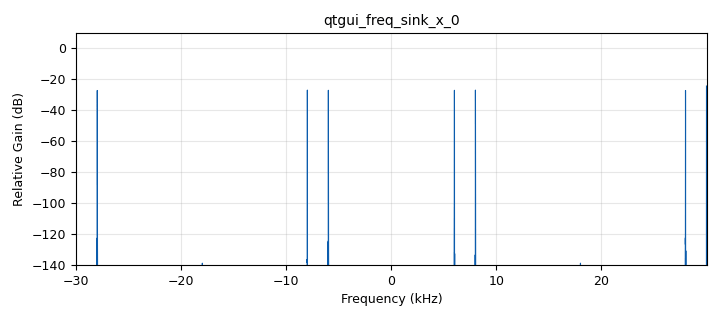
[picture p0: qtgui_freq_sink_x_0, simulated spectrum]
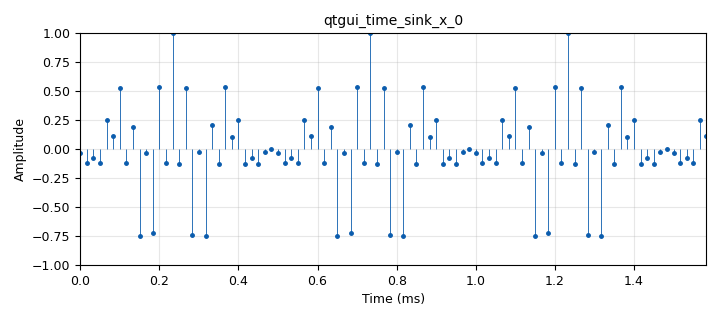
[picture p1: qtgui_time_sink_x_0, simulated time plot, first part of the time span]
options:
  parameters:
    author: Sebastian - Esteban
    generate_options: qt_gui
    id: multiplicacion_senales
    output_language: python
    title: Multiplicacion Señales
  states: {}

blocks:
- name: samp_rate
  id: variable
  parameters:
    value: '32000'
  states: {state: disabled}
- name: samp_rate
  id: variable_qtgui_range
  parameters:
    start: 1e3
    step: 1e3
    stop: 600e3
    value: 60e3
  states: {}
- name: analog_sig_source_x_0
  id: analog_sig_source_x
  parameters:
    amp: '1'
    freq: 11e3
    offset: '0'
    phase: '0'
    samp_rate: samp_rate
    type: float
    waveform: analog.GR_COS_WAVE
  states: {}
- name: analog_sig_source_x_1
  id: analog_sig_source_x
  parameters:
    amp: '1'
    freq: 18e3
    offset: '0'
    phase: '0'
    samp_rate: samp_rate
    type: float
    waveform: analog.GR_COS_WAVE
  states: {}
- name: analog_sig_source_x_2
  id: analog_sig_source_x
  parameters:
    amp: '1'
    freq: '1000'
    offset: '0'
    phase: '0'
    samp_rate: samp_rate
    type: float
    waveform: analog.GR_COS_WAVE
  states: {}
- name: blocks_multiply_xx_0
  id: blocks_multiply_xx
  parameters:
    num_inputs: '3'
    type: float
  states: {}
- name: qtgui_freq_sink_x_0
  id: qtgui_freq_sink_x
  parameters:
    bw: samp_rate
    fc: '0'
    fftsize: '32768'
    type: float
  states: {}
- name: qtgui_time_sink_x_0
  id: qtgui_time_sink_x
  parameters:
    marker1: '0'
    size: '1024'
    srate: samp_rate
    stemplot: 'True'
    type: float
  states: {}

connections:
- [analog_sig_source_x_0, '0', blocks_multiply_xx_0, '0']
- [analog_sig_source_x_1, '0', blocks_multiply_xx_0, '1']
- [analog_sig_source_x_2, '0', blocks_multiply_xx_0, '2']
- [blocks_multiply_xx_0, '0', qtgui_freq_sink_x_0, '0']
- [blocks_multiply_xx_0, '0', qtgui_time_sink_x_0, '0']

metadata:
  file_format: 1
  grc_version: 3.10.2.0
